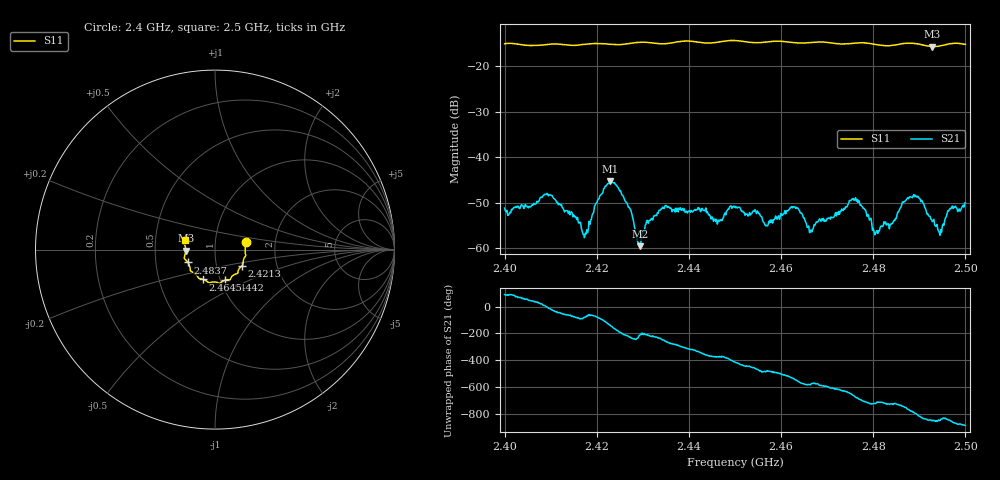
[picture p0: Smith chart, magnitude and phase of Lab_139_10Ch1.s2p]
# Hz S RI R 50
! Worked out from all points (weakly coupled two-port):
!   601 points, 2.4 GHz to 2.5 GHz, reference 50 ohm
!   highest |S21| = -45.32 dB at 2.4228 GHz (marker M1); lowest = -59.6 dB at 2.4293 GHz (marker M2)
!   lowest |S11| = -15.7 dB at 2.4928 GHz (marker M3), VSWR 1.39, Z = 36 - j0.373 ohm
!   |S11| at or under -10 dB: start of sweep to end of sweep
!   S12 and S22 are empty: the file has one direction only
!   S11 on the Smith chart (normalised r, x): 2.4 GHz: 1.41, +0.12; 2.4213 GHz: 1.33, -0.25; 2.4442 GHz: 1.05, -0.37; 2.4645 GHz: 0.83, -0.29; 2.4837 GHz: 0.73, -0.11; 2.5 GHz: 0.71, +0.07
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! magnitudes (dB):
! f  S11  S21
! 2.4 GHz  -15.1  -51.2
! 2.4097 GHz  -15.2  -48.3
! 2.4167 GHz  -15.3  -55.7
! 2.4177 GHz  -15.2  -56.9
! 2.4213 GHz  -15.1  -47.8
! 2.4228 GHz  -15.2  -45.3
! 2.427 GHz  -15.1  -51.0
! 2.4293 GHz  -14.8  -59.6
! 2.4333 GHz  -15.1  -52.3
! 2.4442 GHz  -15.0  -52.4
! 2.45 GHz  -14.4  -50.8
! 2.4567 GHz  -14.7  -55.1
! 2.4645 GHz  -15.0  -52.4
! 2.4667 GHz  -14.8  -56.4
! 2.4757 GHz  -15.0  -49.1
! 2.4803 GHz  -15.2  -57.1
! 2.4833 GHz  -15.6  -54.7
! 2.4837 GHz  -15.5  -54.8
! 2.4892 GHz  -15.1  -48.4
! 2.4928 GHz  -15.7  -54.2
! 2.4945 GHz  -15.6  -57.2
! 2.5 GHz  -15.2  -50.0
